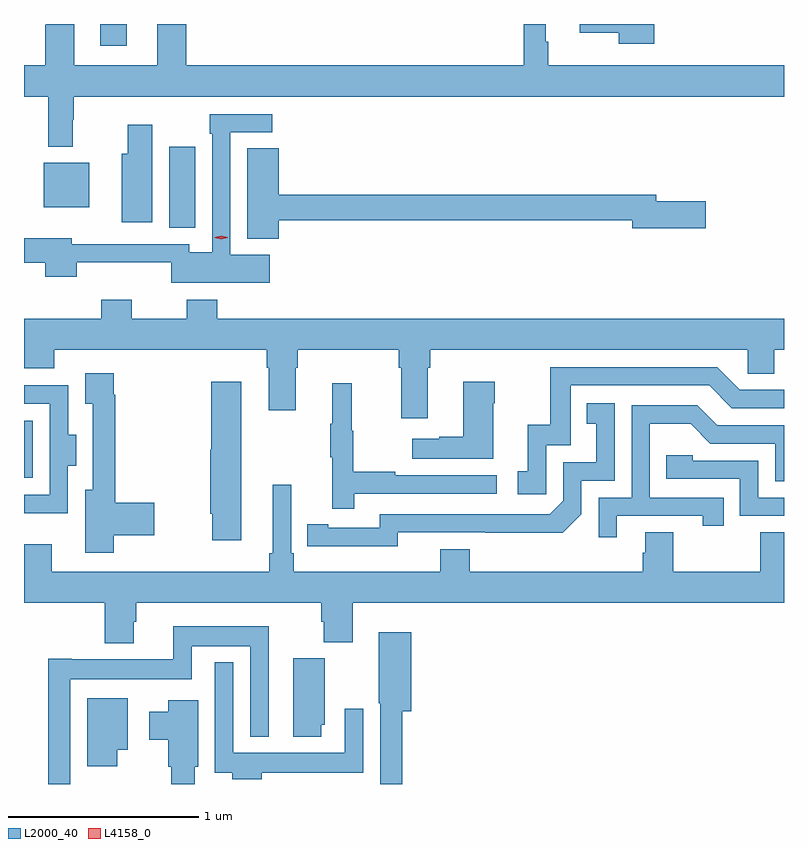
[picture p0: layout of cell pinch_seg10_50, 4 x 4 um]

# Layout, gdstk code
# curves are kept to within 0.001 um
import gdstk
lib = gdstk.Library(unit=1e-6, precision=1e-09)
def R(c, l, rs):  # rectangles x0, y0, x1, y1
    for r in rs: c.add(gdstk.rectangle(r[:2], r[2:], *l))
def P(c, l, *ps):  # polygons
    for p in ps: c.add(gdstk.Polygon(p, *l))
L2000_40 = (2000, 40)
L4158_0 = (4158, 0)

pinch_seg10_50 = lib.new_cell('pinch_seg10_50')
R(pinch_seg10_50, L2000_40, [(852.564,1287.653,852.61,1287.955), (853.328,1288.969,853.465,1289.395), (852.668,1289.078,852.907,1289.311), (852.965,1289.928,853.105,1290.042)])
P(pinch_seg10_50, L2000_40, [(852.82,1289.537),(852.827,1289.537),(852.827,1289.66),(856.564,1289.66),(856.564,1289.824),(855.322,1289.824),(855.322,1289.948),(855.31,1289.948),(855.31,1290.042),(855.193,1290.042),(855.193,1289.824),(853.418,1289.824),(853.418,1290.042),(853.265,1290.042),(853.265,1289.824),(852.829,1289.824),(852.829,1290.042),(852.682,1290.042),(852.682,1290.039),(852.677,1290.039),(852.677,1289.824),(852.564,1289.824),(852.564,1289.66),(852.691,1289.66),(852.691,1289.397),(852.82,1289.397)],
  [(855.881,1290.042),(855.488,1290.042),(855.488,1289.996),(855.694,1289.996),(855.694,1289.939),(855.881,1289.939)],
  [(853.858,1288.828),(853.65,1288.828),(853.65,1289.472),(853.87,1289.472),(853.87,1289.568),(853.542,1289.568),(853.542,1289.465),(853.554,1289.465),(853.554,1288.84),(853.434,1288.84),(853.434,1288.884),(852.814,1288.884),(852.814,1288.915),(852.564,1288.915),(852.564,1288.786),(852.677,1288.786),(852.677,1288.712),(852.842,1288.712),(852.842,1288.787),(853.338,1288.787),(853.338,1288.679),(853.858,1288.679)],
  [(853.24,1289.512),(853.111,1289.512),(853.111,1289.359),(853.079,1289.359),(853.079,1288.998),(853.24,1288.998)],
  [(853.906,1289.008),(855.764,1289.008),(855.764,1288.966),(856.153,1288.966),(856.153,1289.108),(855.892,1289.108),(855.892,1289.144),(853.906,1289.144),(853.906,1289.387),(853.739,1289.387),(853.739,1288.913),(853.906,1288.913)],
  [(854.689,1288.232),(854.702,1288.232),(854.702,1288.328),(856.374,1288.328),(856.374,1288.201),(856.513,1288.201),(856.513,1288.328),(856.564,1288.328),(856.564,1288.492),(853.58,1288.492),(853.58,1288.591),(853.42,1288.591),(853.42,1288.492),(853.131,1288.492),(853.131,1288.591),(852.971,1288.591),(852.971,1288.492),(852.564,1288.492),(852.564,1288.23),(852.722,1288.23),(852.722,1288.328),(853.841,1288.328),(853.841,1288.232),(853.853,1288.232),(853.853,1288.008),(853.993,1288.008),(853.993,1288.232),(854.006,1288.232),(854.006,1288.328),(854.537,1288.328),(854.537,1288.232),(854.549,1288.232),(854.549,1287.966),(854.689,1287.966)],
  [(855.312,1287.825),(855.441,1287.825),(855.441,1288.14),(856.17,1288.14),(856.29,1288.02),(856.564,1288.02),(856.564,1288.116),(856.332,1288.116),(856.212,1288.236),(855.333,1288.236),(855.333,1287.934),(855.215,1287.934),(855.215,1287.687),(855.162,1287.687),(855.162,1287.567),(855.312,1287.567)],
  [(853.037,1287.35),(853.249,1287.35),(853.249,1287.521),(853.043,1287.521),(853.043,1288.091),(853.036,1288.091),(853.036,1288.204),(852.887,1288.204),(852.887,1288.043),(852.927,1288.043),(852.927,1287.592),(852.887,1287.592),(852.887,1287.258),(853.037,1287.258)],
  [(855.034,1288.046),(855.042,1288.046),(855.042,1288.159),(854.876,1288.159),(854.876,1287.869),(854.75,1287.869),(854.75,1287.859),(854.607,1287.859),(854.607,1287.755),(855.034,1287.755)],
  [(853.708,1288.159),(853.55,1288.159),(853.55,1287.801),(853.544,1287.801),(853.544,1287.465),(853.555,1287.465),(853.555,1287.324),(853.708,1287.324)],
  [(854.303,1287.57),(855.052,1287.57),(855.052,1287.666),(854.519,1287.666),(854.519,1287.686),(854.296,1287.686),(854.296,1287.9),(854.288,1287.9),(854.288,1288.15),(854.186,1288.15),(854.186,1287.937),(854.175,1287.937),(854.175,1287.763),(854.186,1287.763),(854.186,1287.492),(854.303,1287.492)],
  [(852.795,1287.716),(852.838,1287.716),(852.838,1287.88),(852.796,1287.88),(852.796,1288.14),(852.564,1288.14),(852.564,1288.044),(852.699,1288.044),(852.699,1287.564),(852.564,1287.564),(852.564,1287.467),(852.795,1287.467)],
  [(854.532,1287.366),(855.4,1287.365),(855.498,1287.462),(855.498,1287.639),(855.672,1287.639),(855.672,1288.045),(855.526,1288.045),(855.526,1287.939),(855.575,1287.939),(855.575,1287.735),(855.402,1287.735),(855.402,1287.534),(855.33,1287.462),(854.436,1287.462),(854.436,1287.39),(854.164,1287.39),(854.164,1287.41),(854.056,1287.41),(854.056,1287.294),(854.532,1287.293)],
  [(855.685,1287.453),(856.136,1287.453),(856.136,1287.402),(856.247,1287.402),(856.247,1287.549),(855.858,1287.549),(855.858,1287.938),(856.072,1287.938),(856.176,1287.834),(856.518,1287.834),(856.518,1287.636),(856.564,1287.636),(856.564,1287.93),(856.213,1287.93),(856.108,1288.035),(855.762,1288.035),(855.762,1287.549),(855.588,1287.549),(855.588,1287.342),(855.685,1287.342)],
  [(856.564,1287.549),(856.428,1287.549),(856.428,1287.744),(856.083,1287.744),(856.083,1287.771),(855.943,1287.771),(855.943,1287.648),(856.332,1287.648),(856.332,1287.453),(856.564,1287.453)],
  [(853.141,1286.895),(853.154,1286.895),(853.154,1286.996),(854.129,1286.996),(854.129,1286.897),(854.141,1286.897),(854.141,1286.788),(854.294,1286.788),(854.294,1286.996),(856.564,1286.996),(856.564,1287.368),(856.438,1287.368),(856.438,1287.16),(855.981,1287.16),(855.981,1287.368),(855.833,1287.368),(855.833,1287.258),(855.821,1287.258),(855.821,1287.16),(854.909,1287.16),(854.909,1287.277),(854.756,1287.277),(854.756,1287.16),(853.985,1287.16),(853.985,1287.256),(853.971,1287.256),(853.971,1287.616),(853.874,1287.616),(853.874,1287.256),(853.855,1287.256),(853.855,1287.16),(852.709,1287.16),(852.709,1287.304),(852.564,1287.304),(852.564,1286.996),(852.989,1286.996),(852.989,1286.783),(853.141,1286.783)],
  [(852.807,1286.594),(853.446,1286.594),(853.446,1286.768),(853.755,1286.768),(853.755,1286.291),(853.852,1286.291),(853.852,1286.872),(853.349,1286.872),(853.349,1286.698),(852.814,1286.698),(852.814,1286.701),(852.691,1286.701),(852.691,1286.042),(852.807,1286.042)],
  [(854.555,1286.426),(854.603,1286.426),(854.603,1286.842),(854.432,1286.842),(854.432,1286.466),(854.439,1286.466),(854.439,1286.042),(854.555,1286.042)],
  [(854.128,1286.355),(854.146,1286.355),(854.146,1286.703),(853.982,1286.703),(853.982,1286.292),(854.128,1286.292)],
  [(853.814,1286.1),(854.045,1286.1),(854.045,1286.102),(854.349,1286.102),(854.349,1286.437),(854.253,1286.437),(854.253,1286.206),(853.665,1286.206),(853.665,1286.683),(853.569,1286.683),(853.569,1286.1),(853.661,1286.1),(853.661,1286.066),(853.814,1286.066)],
  [(853.054,1286.222),(853.111,1286.222),(853.111,1286.494),(852.896,1286.494),(852.896,1286.136),(853.054,1286.136)],
  [(853.462,1286.133),(853.48,1286.133),(853.48,1286.482),(853.322,1286.482),(853.322,1286.422),(853.223,1286.422),(853.223,1286.275),(853.322,1286.275),(853.322,1286.133),(853.34,1286.133),(853.34,1286.042),(853.462,1286.042)])
P(pinch_seg10_50, L4158_0, [(853.601,1288.908),(853.567,1288.918),(853.567,1288.918),(853.567,1288.919),(853.601,1288.928),(853.636,1288.919),(853.636,1288.918),(853.636,1288.918)])

lib.write_gds('pinch_seg10_50.gds')
